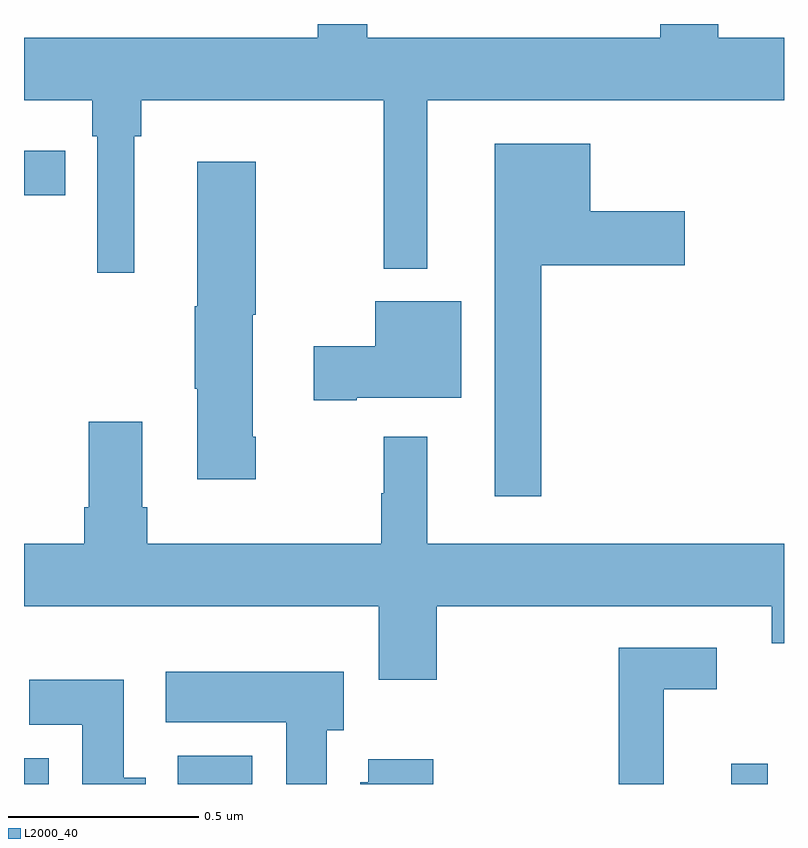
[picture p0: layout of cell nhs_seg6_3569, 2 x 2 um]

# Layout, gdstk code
import gdstk
lib = gdstk.Library(unit=1e-6, precision=1e-09)
def R(c, l, rs):  # rectangles x0, y0, x1, y1
    for r in rs: c.add(gdstk.rectangle(r[:2], r[2:], *l))
def P(c, l, *ps):  # polygons
    for p in ps: c.add(gdstk.Polygon(p, *l))
L2000_40 = (2000, 40)

nhs_seg6_3569 = lib.new_cell('nhs_seg6_3569')
R(nhs_seg6_3569, L2000_40, [(158,981.5,158.065,981.568), (158.405,981.5,158.601,981.574), (159.861,981.5,159.957,981.553), (158,983.05,158.108,983.166)])
P(nhs_seg6_3569, L2000_40, [(158.29,983.204),(158.309,983.204),(158.309,983.3),(158.947,983.3),(158.947,982.856),(159.061,982.856),(159.061,983.3),(160,983.3),(160,983.464),(159.827,983.464),(159.827,983.5),(159.674,983.5),(159.674,983.464),(158.903,983.464),(158.903,983.5),(158.773,983.5),(158.773,983.464),(158,983.464),(158,983.3),(158.18,983.3),(158.18,983.204),(158.193,983.204),(158.193,982.845),(158.29,982.845)],
  [(159.361,982.865),(159.739,982.865),(159.739,983.007),(159.49,983.007),(159.49,983.185),(159.239,983.185),(159.239,982.257),(159.361,982.257)],
  [(158.61,982.414),(158.602,982.414),(158.602,982.735),(158.61,982.735),(158.61,983.137),(158.456,983.137),(158.456,982.757),(158.449,982.757),(158.449,982.54),(158.456,982.54),(158.456,982.302),(158.61,982.302)],
  [(158.875,982.517),(159.151,982.517),(159.151,982.771),(158.924,982.771),(158.924,982.652),(158.763,982.652),(158.763,982.51),(158.875,982.51)],
  [(159.086,981.968),(159.968,981.968),(159.968,981.87),(160,981.87),(160,982.132),(159.061,982.132),(159.061,982.414),(158.947,982.414),(158.947,982.265),(158.94,982.265),(158.94,982.132),(158.324,982.132),(158.324,982.228),(158.311,982.228),(158.311,982.453),(158.171,982.453),(158.171,982.228),(158.159,982.228),(158.159,982.132),(158,982.132),(158,981.968),(158.933,981.968),(158.933,981.774),(159.086,981.774)],
  [(159.683,981.75),(159.823,981.75),(159.823,981.858),(159.565,981.858),(159.565,981.5),(159.683,981.5)],
  [(158.797,981.642),(158.842,981.642),(158.842,981.796),(158.373,981.796),(158.373,981.662),(158.69,981.662),(158.69,981.5),(158.797,981.5)],
  [(158.32,981.516),(158.263,981.516),(158.263,981.775),(158.014,981.775),(158.014,981.656),(158.153,981.656),(158.153,981.5),(158.32,981.5)],
  [(159.077,981.565),(158.906,981.565),(158.906,981.504),(158.885,981.504),(158.885,981.5),(159.077,981.5)])

lib.write_gds('nhs_seg6_3569.gds')
